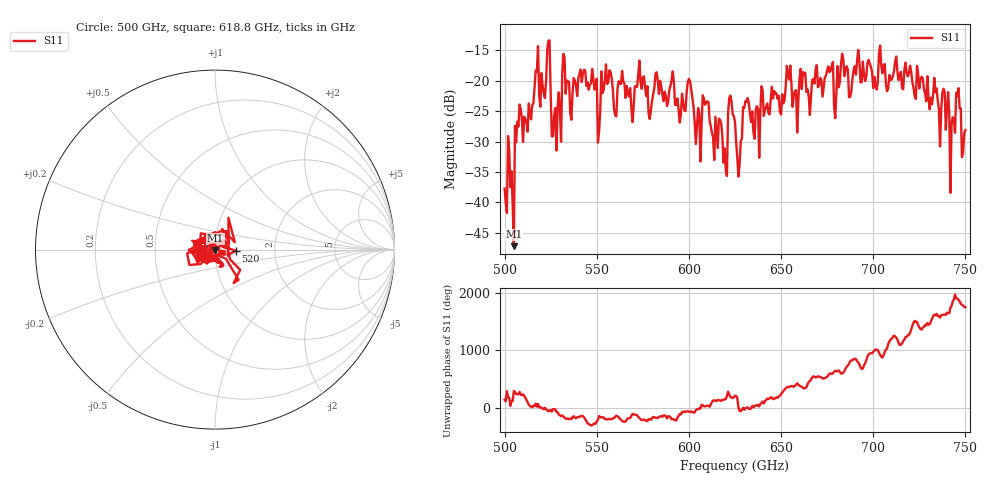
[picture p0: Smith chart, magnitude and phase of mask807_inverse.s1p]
!Created with skrf (http://scikit-rf.org).
# GHz S MA R 50.0
!freq magS11 angS11
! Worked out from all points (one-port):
!   401 points, 500 GHz to 750 GHz, reference 50 ohm
!   lowest |S11| = -47.2 dB at 505 GHz (marker M1), VSWR 1.01, Z = 50.2 - j0.407 ohm
!   |S11| at or under -10 dB: start of sweep to end of sweep
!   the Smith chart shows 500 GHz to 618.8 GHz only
!   S11 on the Smith chart (normalised r, x): 500 GHz: 0.98, +0.02; 520 GHz: 1.26, -0.02; 618.8 GHz: 0.97, +0.03
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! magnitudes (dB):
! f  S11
! 500 GHz  -37.7
! 505 GHz  -47.2
! 508.1 GHz  -23.9
! 520 GHz  -18.8
! 523.8 GHz  -13.4
! 526.9 GHz  -25.8
! 531.2 GHz  -18.9
! 542.5 GHz  -18.7
! 550.6 GHz  -30.2
! 562.5 GHz  -20.5
! 590.6 GHz  -19.9
! 593.8 GHz  -22.9
! 600 GHz  -19.7
! 605 GHz  -24.5
! 608.8 GHz  -23.9
! 618.8 GHz  -33.5
! 622.5 GHz  -22.4
! 625 GHz  -26.7
! 627.5 GHz  -33.7
! 630.6 GHz  -23.3
! 636.9 GHz  -24.2
! 656.2 GHz  -24.3
! 687.5 GHz  -22.7
! 718.8 GHz  -19.3
! 739.4 GHz  -28.1
! 743.1 GHz  -26.0
! 746.2 GHz  -21.2
! 750 GHz  -28.1
